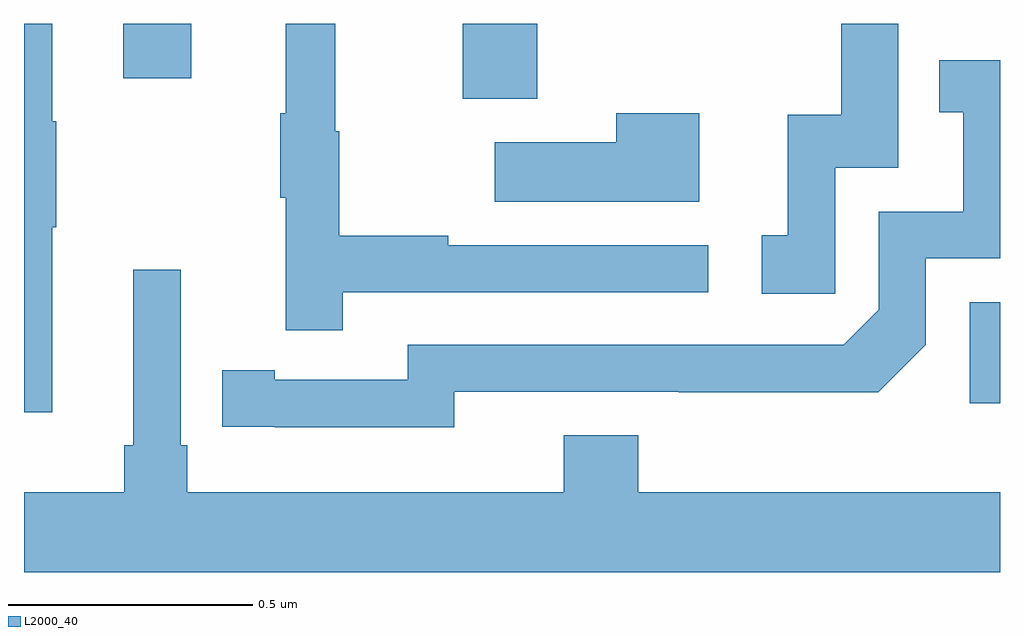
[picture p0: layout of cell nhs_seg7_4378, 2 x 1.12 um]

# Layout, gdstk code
import gdstk
lib = gdstk.Library(unit=1e-6, precision=1e-09)
def R(c, l, rs):  # rectangles x0, y0, x1, y1
    for r in rs: c.add(gdstk.rectangle(r[:2], r[2:], *l))
def P(c, l, *ps):  # polygons
    for p in ps: c.add(gdstk.Polygon(p, *l))
L2000_40 = (2000, 40)

nhs_seg7_4378 = lib.new_cell('nhs_seg7_4378')
R(nhs_seg7_4378, L2000_40, [(172.938,1074.222,173,1074.429), (171.899,1074.846,172.052,1075), (171.203,1074.888,171.343,1075)])
P(nhs_seg7_4378, L2000_40, [(171.653,1074.45),(172.402,1074.45),(172.402,1074.546),(171.869,1074.546),(171.869,1074.566),(171.646,1074.566),(171.646,1074.78),(171.638,1074.78),(171.638,1075),(171.536,1075),(171.536,1074.817),(171.525,1074.817),(171.525,1074.643),(171.536,1074.643),(171.536,1074.372),(171.653,1074.372)],
  [(171.058,1074.583),(171.066,1074.583),(171.066,1074.8),(171.058,1074.8),(171.058,1075),(171,1075),(171,1074.204),(171.058,1074.204)],
  [(172.662,1074.705),(172.791,1074.705),(172.791,1075),(172.675,1075),(172.675,1074.814),(172.565,1074.814),(172.565,1074.567),(172.512,1074.567),(172.512,1074.447),(172.662,1074.447)],
  [(171.882,1074.246),(172.342,1074.246),(172.342,1074.245),(172.75,1074.245),(172.848,1074.342),(172.848,1074.519),(173,1074.519),(173,1074.925),(172.876,1074.925),(172.876,1074.819),(172.925,1074.819),(172.925,1074.615),(172.752,1074.615),(172.752,1074.414),(172.68,1074.342),(171.786,1074.342),(171.786,1074.27),(171.514,1074.27),(171.514,1074.29),(171.406,1074.29),(171.406,1074.174),(171.514,1074.174),(171.514,1074.173),(171.882,1074.173)],
  [(172.384,1074.817),(172.214,1074.817),(172.214,1074.757),(171.965,1074.757),(171.965,1074.635),(172.384,1074.635)],
  [(173,1074.04),(172.259,1074.04),(172.259,1074.157),(172.106,1074.157),(172.106,1074.04),(171.335,1074.04),(171.335,1074.136),(171.321,1074.136),(171.321,1074.496),(171.224,1074.496),(171.224,1074.136),(171.205,1074.136),(171.205,1074.04),(171,1074.04),(171,1073.876),(173,1073.876)])

lib.write_gds('nhs_seg7_4378.gds')
